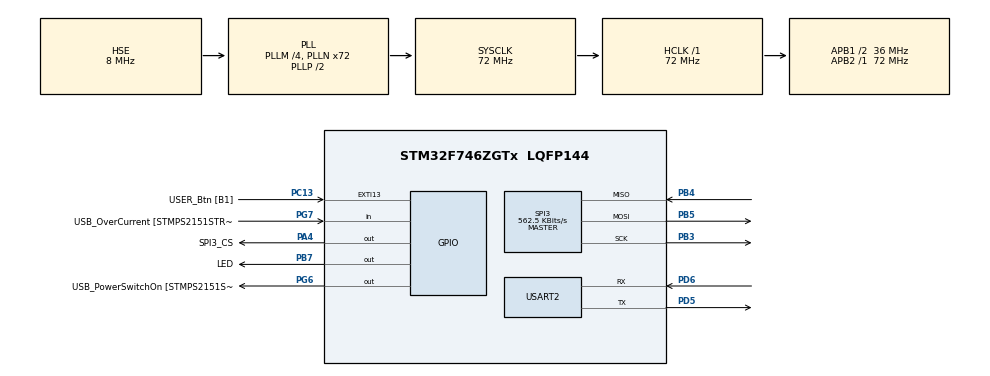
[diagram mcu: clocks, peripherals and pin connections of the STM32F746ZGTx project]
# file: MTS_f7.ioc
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Mcu.Family=STM32F7
Mcu.Name=STM32F746ZGTx
Mcu.Package=LQFP144
NVIC.PriorityGroup=NVIC_PRIORITYGROUP_4
NVIC.TIM2_IRQn=true\:0\:0\:false\:false\:true\:true\:true\:true
NVIC.USART2_IRQn=true\:0\:0\:false\:false\:true\:true\:true\:true
PA1.GPIO_Label=RMII_REF_CLK [LAN8742A-CZ-TR_REFCLK0]
PA1.Signal=ETH_REF_CLK
PA10.GPIO_Label=USB_ID
PA10.Signal=USB_OTG_FS_ID
PA11.GPIO_Label=USB_DM
PA11.Signal=USB_OTG_FS_DM
PA12.GPIO_Label=USB_DP
PA12.Signal=USB_OTG_FS_DP
PA13.GPIO_Label=TMS
PA13.Signal=SYS_JTMS-SWDIO
PA14.GPIO_Label=TCK
PA14.Signal=SYS_JTCK-SWCLK
PA2.GPIO_Label=RMII_MDIO [LAN8742A-CZ-TR_MDIO]
PA2.Signal=ETH_MDIO
PA4.GPIO_Label=SPI3_CS
PA4.GPIO_Speed=GPIO_SPEED_FREQ_VERY_HIGH
PA4.PinState=GPIO_PIN_SET
PA4.Signal=GPIO_Output
PA7.GPIO_Label=RMII_CRS_DV [LAN8742A-CZ-TR_CRS_DV]
PA7.Signal=ETH_CRS_DV
PA8.GPIO_Label=USB_SOF [TP1]
PA8.Signal=USB_OTG_FS_SOF
PA9.GPIO_Label=USB_VBUS
PA9.Signal=USB_OTG_FS_VBUS
PB13.GPIO_Label=RMII_TXD1 [LAN8742A-CZ-TR_TXD1]
PB13.Signal=ETH_TXD1
PB3.Mode=Full_Duplex_Master
PB3.Signal=SPI3_SCK
PB4.Mode=Full_Duplex_Master
PB4.Signal=SPI3_MISO
PB5.Mode=Full_Duplex_Master
PB5.Signal=SPI3_MOSI
PB7.GPIO_Label=LED
PB7.PinState=GPIO_PIN_SET
PB7.Signal=GPIO_Output
PC1.GPIO_Label=RMII_MDC [LAN8742A-CZ-TR_MDC]
PC1.Signal=ETH_MDC
PC13.GPIO_Label=USER_Btn [B1]
PC13.Signal=GPXTI13
PC14/OSC32_IN.Signal=RCC_OSC32_IN
PC15/OSC32_OUT.Signal=RCC_OSC32_OUT
PC4.GPIO_Label=RMII_RXD0 [LAN8742A-CZ-TR_RXD0]
PC4.Signal=ETH_RXD0
PC5.GPIO_Label=RMII_RXD1 [LAN8742A-CZ-TR_RXD1]
PC5.Signal=ETH_RXD1
PD5.Mode=Asynchronous
PD5.Signal=USART2_TX
PD6.Mode=Asynchronous
PD6.Signal=USART2_RX
PD8.GPIO_Label=STLK_RX [STM32F103CBT6_PA3]
PD8.Signal=USART3_TX
PD9.GPIO_Label=STLK_TX [STM32F103CBT6_PA2]
PD9.Signal=USART3_RX
PG11.GPIO_Label=RMII_TX_EN [LAN8742A-CZ-TR_TXEN]
PG11.Signal=ETH_TX_EN
PG13.GPIO_Label=RMII_TXD0 [LAN8742A-CZ-TR_TXD0]
PG13.Signal=ETH_TXD0
PG6.GPIO_Label=USB_PowerSwitchOn [STMPS2151STR_EN]
PG6.Signal=GPIO_Output
PG7.GPIO_Label=USB_OverCurrent [STMPS2151STR_FAULT]
PG7.Signal=GPIO_Input
PH0/OSC_IN.GPIO_Label=MCO [STM32F103CBT6_PA8]
PH0/OSC_IN.Mode=HSE-External-Clock-Source
PH0/OSC_IN.Signal=RCC_OSC_IN
PH1/OSC_OUT.Mode=HSE-External-Clock-Source
PH1/OSC_OUT.Signal=RCC_OSC_OUT
ProjectManager.HeapSize=0x200
ProjectManager.StackSize=0x400
ProjectManager.TargetToolchain=STM32CubeIDE
RCC.48MHZClocksFreq_Value=24000000
RCC.AHBFreq_Value=72000000
RCC.APB1CLKDivider=RCC_HCLK_DIV2
RCC.APB1Freq_Value=36000000
RCC.APB1TimFreq_Value=72000000
RCC.APB2Freq_Value=72000000
RCC.APB2TimFreq_Value=72000000
RCC.CortexFreq_Value=72000000
RCC.HCLKFreq_Value=72000000
RCC.HSE_VALUE=8000000
RCC.HSI_VALUE=16000000
RCC.LSE_VALUE=32768
RCC.PLLM=4
RCC.PLLMUL=RCC_PLL_MUL9
RCC.PLLN=72
RCC.PLLQ=3
RCC.PLLSourceVirtual=RCC_PLLSOURCE_HSE
RCC.PRESCALERUSB=RCC_USBCLKSOURCE_PLL_DIV1_5
RCC.SYSCLKFreq_VALUE=72000000
RCC.SYSCLKSource=RCC_SYSCLKSOURCE_PLLCLK
RCC.SYSCLKSourceVirtual=RCC_SYSCLKSOURCE_PLLCLK
RCC.USBFreq_Value=48000000
RCC.VCOOutputFreq_Value=144000000
SPI3.BaudRatePrescaler=SPI_BAUDRATEPRESCALER_64
SPI3.CalculateBaudRate=562.5 KBits/s
SPI3.DataSize=SPI_DATASIZE_8BIT
SPI3.Direction=SPI_DIRECTION_2LINES
SPI3.Mode=SPI_MODE_MASTER
SPI3.VirtualType=VM_MASTER
TIM2.Period=1
TIM2.Prescaler=108 - 1
TIM2.TIM_MasterOutputTrigger=TIM_TRGO_UPDATE
USART2.OneBitSampling=UART_ONE_BIT_SAMPLE_ENABLE
USART2.OverSampling=UART_OVERSAMPLING_8
USART2.Parity=PARITY_NONE
USART2.StopBits=STOPBITS_1
USART2.VirtualMode-Asynchronous=VM_ASYNC
USART2.WordLength=WORDLENGTH_8B
VP_FATFS_VS_Generic.Mode=User_defined
VP_TIM2_VS_ClockSourceINT.Mode=Internal
board=NUCLEO-F746ZG

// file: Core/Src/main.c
/* USER CODE BEGIN Header */
/**
  ******************************************************************************
  * @file           : main.c
  * @brief          : Main program body
  ******************************************************************************
  * @attention
  *
  * Copyright (c) 2025 STMicroelectronics.
  * All rights reserved.
  *
  * This software is licensed under terms that can be found in the LICENSE file
  * in the root directory of this software component.
  * If no LICENSE file comes with this software, it is provided AS-IS.
  *
  ******************************************************************************
  */
/* USER CODE END Header */
#include "main.h"
#include "fatfs.h"
#include "spi.h"
#include "tim.h"
#include "usart.h"
#include "gpio.h"

/* USER CODE BEGIN Includes */
#include "calib.h"
#include <stdlib.h>
#include <string.h>
#include <stdio.h>

/* USER CODE END Includes */

/* USER CODE BEGIN PV */
float mx[1112] = {0}, my[1112] = {0}, mz[1112] = {0};
float p1[9] = {0}, p0[9] = {0};
uint8_t passos_NLLS = 0;

/* USER CODE END PV */

void SystemClock_Config(void);

int main(void)
{

  /* USER CODE BEGIN 1 */
  char file_read[20] = {0};
  /* USER CODE END 1 */

  /* MCU Configuration--------------------------------------------------------*/

  /* Reset of all peripherals, Initializes the Flash interface and the Systick. */
  HAL_Init();

  /* Configure the system clock */
  SystemClock_Config();

  /* Initialize all configured peripherals */
  MX_GPIO_Init();
  MX_TIM2_Init();
  MX_USART2_UART_Init();
  MX_FATFS_Init();
  MX_SPI3_Init();
  /* USER CODE BEGIN 2 */
  uint32_t start_time = 0;
  uint32_t ETS_counter = 0;
  uint32_t NLLS_counter = 0;
  uint16_t file_cont = 1;
  float ETS_time = 0, NLLS_time = 0;

  FATFS fs;
  FRESULT res;

  // Monta o sistema de arquivos na unidade lógica "0:"
  res = f_mount(&fs, "0:", 1);
  if (res != FR_OK) {
      printf("Falha ao montar o sistema de arquivos: %d\n", res);
      Error_Handler(); // ou retorne um erro
  }

  /* USER CODE END 2 */

  /* Infinite loop */
  /* USER CODE BEGIN WHILE */
  while (1)
  {
	if(file_cont >= 3000)
	{
		return 1;
	}

	sprintf(file_read, "0:/DATA/run%d.txt", file_cont);  // Prefixo de volume (0:) é comum no FatFs

	FIL fil;
	FRESULT res;

	res = f_open(&fil, file_read, FA_READ);
	if (res != FR_OK)
	{
		return 1;
	}

	char line[61340];
	UINT br; // Bytes lidos

	float *linhas[] = {mx, my, mz};  // Vetor de ponteiros para facilitar o acesso

	for (int i = 0; i < 3; i++)
	{
		// lê uma linha completa (até '\n' ou fim do buffer)
		int line_pos = 0;
		char ch;
		do {
			res = f_read(&fil, &ch, 1, &br);
			if (res != FR_OK || br == 0) {
				return 1;
			}
			line[line_pos++] = ch;
		} while (ch != '\n' && line_pos < sizeof(line)-1);
		line[line_pos] = '\0';

		char *token = strtok(line, ",");
		int j = 0;

		while (token != NULL && j < 1112)
		{
			linhas[i][j] = strtof(token, NULL);
			token = strtok(NULL, ",");
			j++;
		}

		if (j != 1112)
		{
			return 1;
		}
	}

	f_close(&fil);

	start_time = SysTick->VAL;
	ETS(mx, my, mz, p1);
	ETS_counter = start_time - SysTick->VAL;
	ETS_time = ETS_counter/SystemCoreClock;

	start_time = SysTick->VAL;
	passos_NLLS = NLLS(mx, my, mz, p0);
	NLLS_counter = start_time - SysTick->VAL;
	NLLS_time = NLLS_counter/SystemCoreClock;

	// Abrir o mesmo arquivo para sobrescrita
	sprintf(file_read, "0:/RES");
	res = f_mkdir(file_read);

	sprintf(file_read, "0:/RES/run%d.txt", file_cont);
	res = f_open(&fil, file_read, FA_WRITE | FA_CREATE_ALWAYS);
	if (res != FR_OK)
	{
		return 1;
	}

	char out_line[128];
	UINT bw;

	for (int i = 0; i < 9; i++) {
		sprintf(out_line, "%f, %f\n", p1[i], p0[i]);
		f_write(&fil, out_line, strlen(out_line), &bw);
	}

	sprintf(out_line, "%f, %f\n", ETS_time, NLLS_time);
	f_write(&fil, out_line, strlen(out_line), &bw);

	sprintf(out_line, "%u\n", passos_NLLS);
	f_write(&fil, out_line, strlen(out_line), &bw);

	f_close(&fil);

	file_cont++;

    /* USER CODE END WHILE */

  }
}

void SystemClock_Config(void)
{
  RCC_OscInitTypeDef RCC_OscInitStruct = {0};
  RCC_ClkInitTypeDef RCC_ClkInitStruct = {0};

  /** Configure the main internal regulator output voltage
  */
  __HAL_RCC_PWR_CLK_ENABLE();
  __HAL_PWR_VOLTAGESCALING_CONFIG(PWR_REGULATOR_VOLTAGE_SCALE3);

  /** Initializes the RCC Oscillators according to the specified parameters
  * in the RCC_OscInitTypeDef structure.
  */
  RCC_OscInitStruct.OscillatorType = RCC_OSCILLATORTYPE_HSE;
  RCC_OscInitStruct.HSEState = RCC_HSE_BYPASS;
  RCC_OscInitStruct.PLL.PLLState = RCC_PLL_ON;
  RCC_OscInitStruct.PLL.PLLSource = RCC_PLLSOURCE_HSE;
  RCC_OscInitStruct.PLL.PLLM = 4;
  RCC_OscInitStruct.PLL.PLLN = 72;
  RCC_OscInitStruct.PLL.PLLP = RCC_PLLP_DIV2;
  RCC_OscInitStruct.PLL.PLLQ = 3;
  if (HAL_RCC_OscConfig(&RCC_OscInitStruct) != HAL_OK)
  {
    Error_Handler();
  }

  /** Initializes the CPU, AHB and APB buses clocks
  */
  RCC_ClkInitStruct.ClockType = RCC_CLOCKTYPE_HCLK|RCC_CLOCKTYPE_SYSCLK
                              |RCC_CLOCKTYPE_PCLK1|RCC_CLOCKTYPE_PCLK2;
  RCC_ClkInitStruct.SYSCLKSource = RCC_SYSCLKSOURCE_PLLCLK;
  RCC_ClkInitStruct.AHBCLKDivider = RCC_SYSCLK_DIV1;
  RCC_ClkInitStruct.APB1CLKDivider = RCC_HCLK_DIV2;
  RCC_ClkInitStruct.APB2CLKDivider = RCC_HCLK_DIV1;

  if (HAL_RCC_ClockConfig(&RCC_ClkInitStruct, FLASH_LATENCY_2) != HAL_OK)
  {
    Error_Handler();
  }
}

void Error_Handler(void)
{
  __disable_irq();
  while (1)
  {
  }
}
